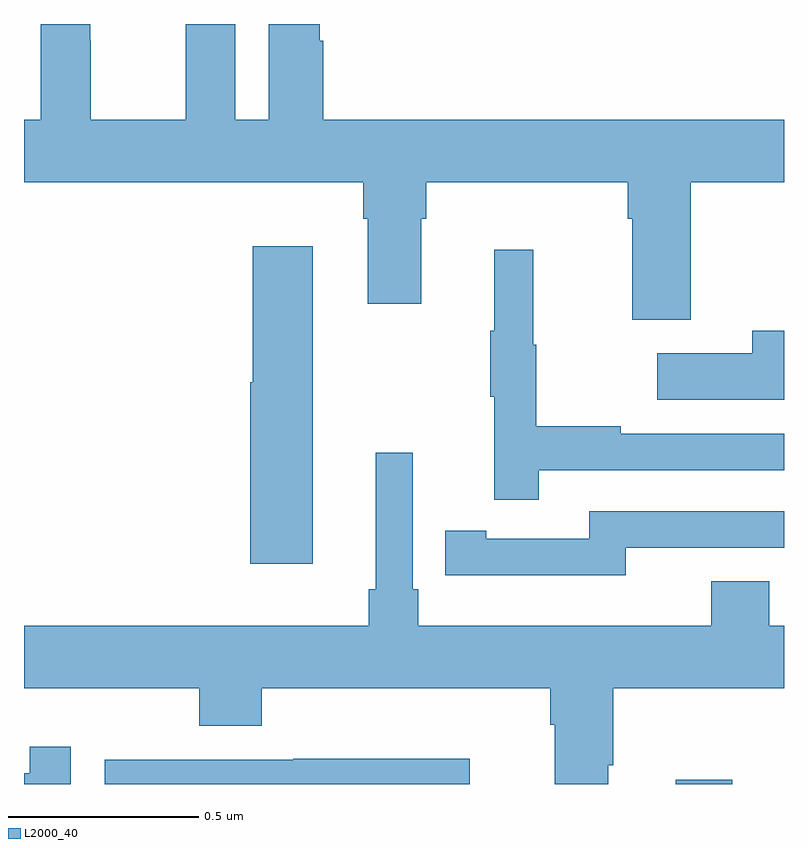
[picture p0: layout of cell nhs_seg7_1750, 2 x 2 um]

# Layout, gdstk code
import gdstk
lib = gdstk.Library(unit=1e-6, precision=1e-09)
def R(c, l, rs):  # rectangles x0, y0, x1, y1
    for r in rs: c.add(gdstk.rectangle(r[:2], r[2:], *l))
def P(c, l, *ps):  # polygons
    for p in ps: c.add(gdstk.Polygon(p, *l))
L2000_40 = (2000, 40)

nhs_seg7_1750 = lib.new_cell('nhs_seg7_1750')
R(nhs_seg7_1750, L2000_40, [(136.715,1031,136.864,1031.011)])
P(nhs_seg7_1750, L2000_40, [(136.754,1032.584),(137,1032.584),(137,1032.748),(135.788,1032.748),(135.788,1032.956),(135.778,1032.956),(135.778,1033),(135.644,1033),(135.644,1032.748),(135.556,1032.748),(135.556,1033),(135.426,1033),(135.426,1032.956),(135.425,1032.956),(135.425,1032.748),(135.175,1032.748),(135.175,1032.956),(135.174,1032.956),(135.174,1033),(135.044,1033),(135.044,1032.748),(135,1032.748),(135,1032.584),(135.893,1032.584),(135.893,1032.488),(135.905,1032.488),(135.905,1032.264),(136.045,1032.264),(136.045,1032.488),(136.058,1032.488),(136.058,1032.584),(136.589,1032.584),(136.589,1032.488),(136.601,1032.488),(136.601,1032.222),(136.754,1032.222)],
  [(135.76,1032.415),(135.602,1032.415),(135.602,1032.057),(135.596,1032.057),(135.596,1031.58),(135.76,1031.58)],
  [(136.355,1031.826),(137,1031.826),(137,1031.922),(136.571,1031.922),(136.571,1031.942),(136.348,1031.942),(136.348,1032.156),(136.34,1032.156),(136.34,1032.406),(136.238,1032.406),(136.238,1032.193),(136.227,1032.193),(136.227,1032.019),(136.238,1032.019),(136.238,1031.748),(136.355,1031.748)],
  [(137,1032.193),(136.916,1032.193),(136.916,1032.133),(136.667,1032.133),(136.667,1032.011),(137,1032.011)],
  [(136.537,1031.05),(136.55,1031.05),(136.55,1031.252),(137,1031.252),(137,1031.416),(136.961,1031.416),(136.961,1031.533),(136.808,1031.533),(136.808,1031.416),(136.037,1031.416),(136.037,1031.512),(136.023,1031.512),(136.023,1031.872),(135.926,1031.872),(135.926,1031.512),(135.907,1031.512),(135.907,1031.416),(135,1031.416),(135,1031.252),(135.461,1031.252),(135.461,1031.153),(135.626,1031.153),(135.626,1031.252),(136.385,1031.252),(136.385,1031.156),(136.397,1031.156),(136.397,1031),(136.537,1031)],
  [(136.584,1031.622),(137,1031.622),(137,1031.718),(136.488,1031.718),(136.488,1031.646),(136.216,1031.646),(136.216,1031.666),(136.108,1031.666),(136.108,1031.55),(136.216,1031.55),(136.216,1031.549),(136.584,1031.549)],
  [(135.123,1031.098),(135.015,1031.098),(135.015,1031.028),(135,1031.028),(135,1031),(135.123,1031)],
  [(136.173,1031.066),(135.709,1031.066),(135.709,1031.064),(135.213,1031.064),(135.213,1031),(136.173,1031)])

lib.write_gds('nhs_seg7_1750.gds')
